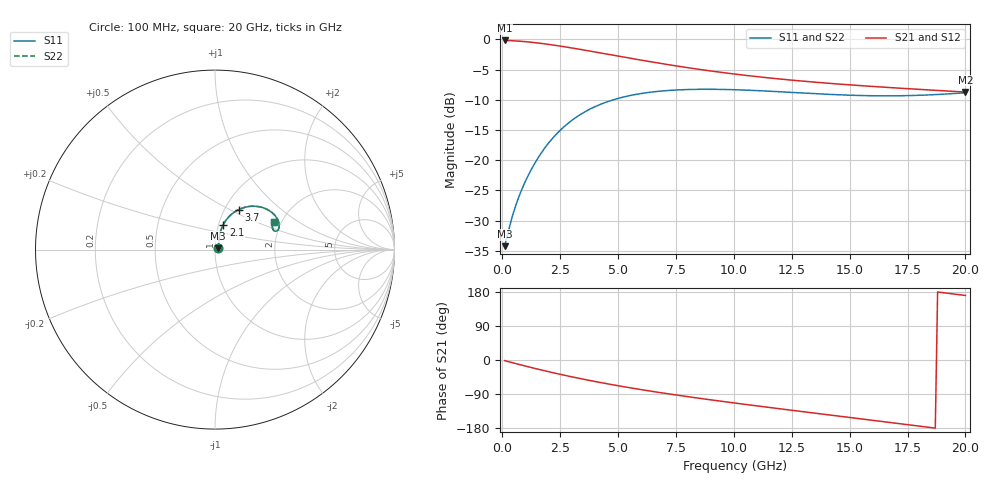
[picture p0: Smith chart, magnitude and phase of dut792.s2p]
! Touchstone file exported from HFSS 2024.1.0
!  File:  C:/UserFiles/LocalFiles/RDL_TSV_Batchsim/temp_RDL_TSV_792_1779908398.aedt
!  Generated:  03:14:49 AM May 28, 2026
!  Design:  RDL_TSV
!  Project:  temp_RDL_TSV_792_1779908398
!  Setup:  Setup1
!  Solution:  Sweep
! Variables:
!  dtsv = 8.23um
!  hbump = 3um
!  htsv = 55.52um
!  ldown = 190.35um
!  lrdl = 579.43um
!  p = 40
!  p1 = 54.85um
!  rhole = 10um
!  subl = 2888.77um
!  t = 450um
!  tdown = 2.32um
!  trdl = 3.42um
!  viad = 10um
!  wdown = 24.41um
!  wrdl = 17.16um
!  xbump = 18um
# GHz S MA R 50.000000
! Terminal data exported
! Port[1] = TM1_1_T1
! Port[2] = TM1_4_T1
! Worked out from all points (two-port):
!   200 points, 100 MHz to 20 GHz, reference 50 ohm
!   highest |S21| = -0.16 dB at 100 MHz (marker M1); lowest = -8.7 dB at 20 GHz (marker M2)
!   |S21| within 3 dB of the highest: start of sweep to 5.609 GHz
!   lowest |S11| = -34.2 dB at 100 MHz (marker M3), VSWR 1.04, Z = 51.9 + j0.698 ohm
!   |S11| at or under -10 dB: start of sweep to 4.786 GHz
!   |S22| runs from -34.2 to -8.2 dB; largest |S21 - S12| = 9.5e-15
!   S11 on the Smith chart (normalised r, x): 100 MHz: 1.04, +0.01; 2.1 GHz: 1.05, +0.30; 3.7 GHz: 1.16, +0.56; 20 GHz: 1.83, +0.65
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0.1  0.01942 20.3  0.9816 -1.7  0.9816 -1.7  0.01942 20.3
! Gamma 0 0 0 0
! Port Impedance 50 0 50 0
0.5  0.03779 57.0  0.9747 -8.2  0.9747 -8.2  0.03778 57.0
0.7  0.04887 63.7  0.9693 -11.3  0.9693 -11.3  0.04886 63.7
0.9  0.06079 68.0  0.9628 -14.5  0.9628 -14.5  0.06078 68.0
1.2  0.08026 71.6  0.9511 -19.1  0.9511 -19.1  0.08025 71.6
1.5  0.1014 72.9  0.9373 -23.6  0.9373 -23.6  0.1014 73.0
2.1  0.1465 71.7  0.9052 -32.3  0.9052 -32.3  0.1465 71.8
2.8  0.1993 67.0  0.8633 -41.8  0.8633 -41.8  0.1994 67.1
3.5  0.2475 61.0  0.8197 -50.7  0.8197 -50.7  0.2476 61.0
3.7  0.26 59.2  0.8072 -53.1  0.8072 -53.1  0.2601 59.2
4.4  0.2985 53.0  0.7642 -61.3  0.7642 -61.3  0.2987 53.1
5.1  0.3289 47.2  0.7231 -69.0  0.7231 -69.0  0.3292 47.3
5.9  0.3544 41.2  0.6795 -77.2  0.6795 -77.2  0.3548 41.3
6.8  0.373 35.3  0.6352 -85.9  0.6352 -85.9  0.3735 35.4
8.4  0.3866 27.1  0.5694 -100.1  0.5694 -100.1  0.3871 27.2
10.1  0.3833 21.2  0.5154 -114.1  0.5154 -114.1  0.3839 21.3
11.7  0.3716 17.9  0.4766 -126.6  0.4766 -126.6  0.3723 18.0
13.4  0.3568 16.8  0.4447 -139.5  0.4447 -139.5  0.3575 16.8
15  0.3456 17.6  0.4209 -151.6  0.4209 -151.6  0.3464 17.6
16.7  0.3413 19.9  0.4001 -164.5  0.4001 -164.5  0.342 20.0
18.3  0.3467 22.6  0.3832 -176.7  0.3832 -176.7  0.3474 22.7
20  0.3622 25.0  0.3669 170.3  0.3669 170.3  0.3629 25.1
